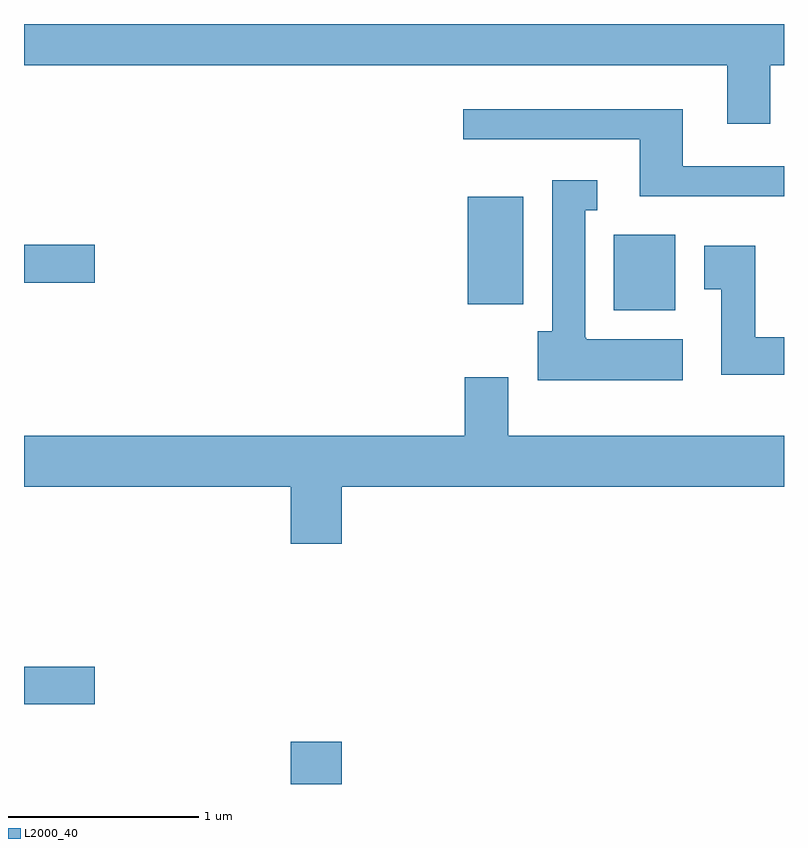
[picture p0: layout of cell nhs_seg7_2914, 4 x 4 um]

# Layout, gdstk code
import gdstk
lib = gdstk.Library(unit=1e-6, precision=1e-09)
def R(c, l, rs):  # rectangles x0, y0, x1, y1
    for r in rs: c.add(gdstk.rectangle(r[:2], r[2:], *l))
def P(c, l, *ps):  # polygons
    for p in ps: c.add(gdstk.Polygon(p, *l))
L2000_40 = (2000, 40)

nhs_seg7_2914 = lib.new_cell('nhs_seg7_2914')
R(nhs_seg7_2914, L2000_40, [(275.016,1768.252,275.284,1768.474), (273.611,1768.671,273.984,1768.869), (276.716,1770.746,277.039,1771.144), (275.946,1770.776,276.239,1771.344), (273.611,1770.891,273.984,1771.089)])
P(nhs_seg7_2914, L2000_40, [(277.539,1772.036),(277.611,1772.036),(277.611,1772.252),(273.611,1772.252),(273.611,1772.036),(277.311,1772.036),(277.311,1771.726),(277.539,1771.726)],
  [(277.611,1771.504),(277.079,1771.504),(277.079,1771.804),(275.923,1771.804),(275.923,1771.646),(276.851,1771.646),(276.851,1771.346),(277.611,1771.346)],
  [(277.079,1770.594),(276.57,1770.594),(276.57,1770.6),(276.564,1770.6),(276.564,1771.271),(276.628,1771.271),(276.628,1771.429),(276.391,1771.429),(276.391,1770.634),(276.316,1770.634),(276.316,1770.376),(277.079,1770.376)],
  [(277.611,1770.604),(277.459,1770.604),(277.459,1771.084),(277.191,1771.084),(277.191,1770.856),(277.281,1770.856),(277.281,1770.406),(277.611,1770.406)],
  [(275.284,1769.816),(277.611,1769.816),(277.611,1770.084),(276.159,1770.084),(276.159,1770.394),(275.931,1770.394),(275.931,1770.084),(273.611,1770.084),(273.611,1769.816),(275.016,1769.816),(275.016,1769.516),(275.284,1769.516)])

lib.write_gds('nhs_seg7_2914.gds')
